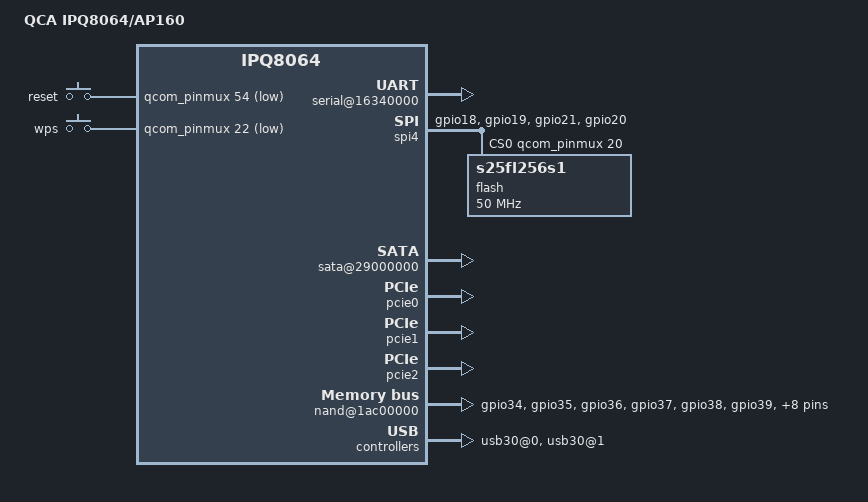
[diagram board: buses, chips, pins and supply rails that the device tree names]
/* Copyright (c) 2015-2016, The Linux Foundation. All rights reserved.
 *
 * Permission to use, copy, modify, and/or distribute this software for any
 * purpose with or without fee is hereby granted, provided that the above
 * copyright notice and this permission notice appear in all copies.
 *
 * THE SOFTWARE IS PROVIDED "AS IS" AND THE AUTHOR DISCLAIMS ALL WARRANTIES
 * WITH REGARD TO THIS SOFTWARE INCLUDING ALL IMPLIED WARRANTIES OF
 * MERCHANTABILITY AND FITNESS. IN NO EVENT SHALL THE AUTHOR BE LIABLE FOR
 * ANY SPECIAL, DIRECT, INDIRECT, OR CONSEQUENTIAL DAMAGES OR ANY DAMAGES
 * WHATSOEVER RESULTING FROM LOSS OF USE, DATA OR PROFITS, WHETHER IN AN
 * ACTION OF CONTRACT, NEGLIGENCE OR OTHER TORTIOUS ACTION, ARISING OUT OF
 * OR IN CONNECTION WITH THE USE OR PERFORMANCE OF THIS SOFTWARE.
 *
 */

#include <dt-bindings/interrupt-controller/arm-gic.h>
#include <dt-bindings/interrupt-controller/irq.h>
#include <dt-bindings/input/input.h>
#include <dt-bindings/gpio/gpio.h>

/ {
	model = "QCA IPQ8064/AP160";
	compatible = "qcom,ipq8064-ap160", "qcom,ipq8064";

	reserved-memory {
		#address-cells = <1>;
		#size-cells = <1>;
		ranges;
		rsvd@41200000 {
			reg = <0x41200000 0x300000>;
			no-map;
		};
	};

	aliases {
		serial0 = &uart4;
	};

	soc {
		pinmux@800000 {
			pinctrl-0 = <&pcie_2g_pwrdwn
				     &pcie_5g_pwrdwn
				     &leds_pins>;
			pinctrl-names = "default";

			i2c4_pins: i2c4_pinmux {
				mux {
					pins = "gpio12", "gpio13";
					function = "gsbi4";
					drive-strength = <12>;
					bias-disable;
				};
			};

			pcie_2g_pwrdwn: pcie_2g_pwrdwn {
				mux {
					pins = "gpio9";
					drive-strength = <12>;
					bias-pull-up;
					output-high;
				};
			};

			pcie_5g_pwrdwn: pcie_5g_pwrdwn {
				mux {
					pins = "gpio26";
					drive-strength = <12>;
					bias-pull-up;
					output-high;
				};
			};

			spi_pins: spi_pins {
				mux {
					pins = "gpio18", "gpio19", "gpio21";
					function = "gsbi5";
					drive-strength = <10>;
					bias-none;
				};
				cs {
					pins = "gpio20";
					drive-strength = <12>;
				};
			};

			nand_pins: nand_pins {
				mux {
					pins = "gpio34", "gpio35", "gpio36",
						"gpio37", "gpio38", "gpio39",
						"gpio40", "gpio41", "gpio42",
						"gpio43", "gpio44", "gpio45",
						"gpio46", "gpio47";
					function = "nand";
					drive-strength = <10>;
					bias-disable;
				};
				pullups {
					pins = "gpio39";
					bias-pull-up;
				};
				hold {
					pins = "gpio40", "gpio41", "gpio42",
						"gpio43", "gpio44", "gpio45",
						"gpio46", "gpio47";
					bias-bus-hold;
				};
			};

			button_pins: button_pinmux {
				mux {
					pins = "gpio22", "gpio54";
					drive-strength = <2>;
					bias-pull-up;
				};
			};

			leds_pins: leds_pins {
				mux {
					pins = "gpio7", "gpio53";
					function = "gpio";
					drive-strength = <2>;
					bias-pull-down;
					output-low;
				};
			};

			sdcc3_pins: sdcc3_pinmux {
				mux {
					pins = "gpio6";
					drive-strength = <2>;
					bias-pull-down;
				};
				card_det {
					pins = "gpio8";
					drive-strength = <16>;
					bias-pull-none;
				};
			};
		};

		gsbi@16300000 {
			qcom,mode = <GSBI_PROT_I2C_UART>;
			status = "ok";
			serial@16340000 {
				status = "ok";
			};
		};

		gsbi5: gsbi@1a200000 {
			qcom,mode = <GSBI_PROT_SPI>;
			status = "ok";

			spi4: spi@1a280000 {
				status = "ok";
				spi-max-frequency = <50000000>;

				pinctrl-0 = <&spi_pins>;
				pinctrl-names = "default";

				cs-gpios = <&qcom_pinmux 20 0>;

				flash: m25p80@0 {
					compatible = "s25fl256s1";
					#address-cells = <1>;
					#size-cells = <1>;
					spi-max-frequency = <50000000>;
					reg = <0>;
					m25p,fast-read;
				};
			};
		};

		sata-phy@1b400000 {
			status = "ok";
		};

		sata@29000000 {
			ports-implemented = <0x1>;
			status = "ok";
		};

		pcie0: pci@1b500000 {
			status = "ok";
		};

		pcie1: pci@1b700000 {
			status = "ok";
		};

		pcie2: pci@1b900000 {
			status = "ok";
		};

		nand@1ac00000 {
			status = "ok";

			pinctrl-0 = <&nand_pins>;
			pinctrl-names = "default";

			nand-ecc-strength = <4>;
			nand-bus-width = <8>;
		};

		phy@100f8800 {		/* USB3 port 1 HS phy */
			status = "ok";
		};

		phy@100f8830 {		/* USB3 port 1 SS phy */
			status = "ok";
		};

		usb30@0 {
			status = "ok";
		};

		phy@110f8800 {		/* USB3 port 0 HS phy */
			status = "ok";
		};

		phy@110f8830 {		/* USB3 port 0 SS phy */
			status = "ok";
		};

		usb30@1 {
			status = "ok";
		};

		gpio_keys {
			compatible = "gpio-keys";
			pinctrl-0 = <&button_pins>;
			pinctrl-names = "default";

			button@1 {
				label = "reset";
				linux,code = <KEY_RESTART>;
				gpios = <&qcom_pinmux 54 GPIO_ACTIVE_LOW>;
				linux,input-type = <1>;
				debounce-interval = <60>;
			};
			button@2 {
				label = "wps";
				linux,code = <KEY_WPS_BUTTON>;
				gpios = <&qcom_pinmux 22 GPIO_ACTIVE_LOW>;
				linux,input-type = <1>;
				debounce-interval = <60>;
			};
		};
	};
};

&adm_dma {
	status = "ok";
};
